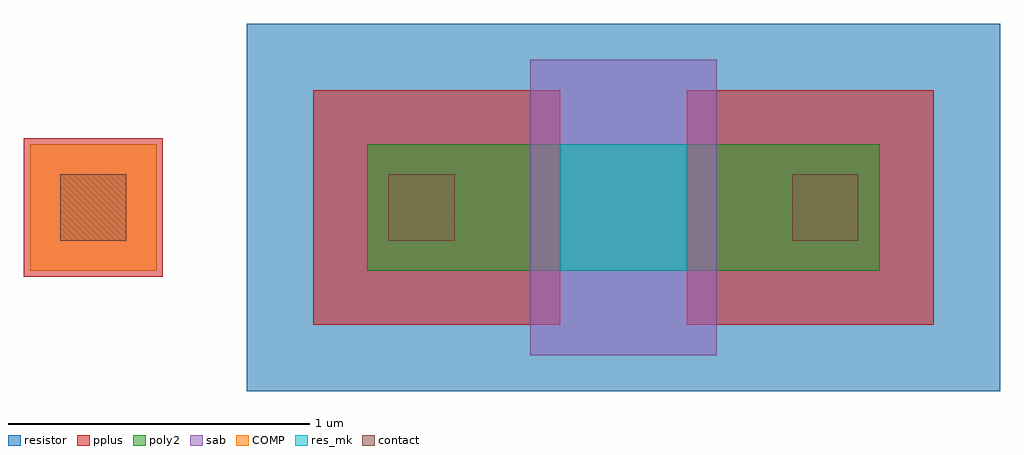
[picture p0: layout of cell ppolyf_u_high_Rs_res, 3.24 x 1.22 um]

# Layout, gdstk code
import gdstk
lib = gdstk.Library(unit=1e-6, precision=1e-09)
def R(c, l, rs):  # rectangles x0, y0, x1, y1
    for r in rs: c.add(gdstk.rectangle(r[:2], r[2:], *l))
COMP = (22, 0)
poly2 = (30, 0)
pplus = (31, 0)
contact = (33, 0)
sab = (49, 0)
resistor = (62, 0)
res_mk = (110, 5)

compass_f40c7e4f = lib.new_cell('compass_f40c7e4f')
R(compass_f40c7e4f, res_mk, [(-0.21,-0.21,0.21,0.21)])

rectangle_f40c7e4f = lib.new_cell('rectangle_f40c7e4f')
rectangle_f40c7e4f.add(gdstk.Reference(compass_f40c7e4f, (0.21,0.21)))

compass_907f2ba3 = lib.new_cell('compass_907f2ba3')
R(compass_907f2ba3, resistor, [(-1.25,-0.61,1.25,0.61)])

rectangle_907f2ba3 = lib.new_cell('rectangle_907f2ba3')
rectangle_907f2ba3.add(gdstk.Reference(compass_907f2ba3, (1.25,0.61)))

compass_6b2bcdbc = lib.new_cell('compass_6b2bcdbc')
R(compass_6b2bcdbc, sab, [(-0.31,-0.49,0.31,0.49)])

rectangle_6b2bcdbc = lib.new_cell('rectangle_6b2bcdbc')
rectangle_6b2bcdbc.add(gdstk.Reference(compass_6b2bcdbc, (0.31,0.49)))

compass_9d4e71ee = lib.new_cell('compass_9d4e71ee')
R(compass_9d4e71ee, poly2, [(-0.85,-0.21,0.85,0.21)])

rectangle_9d4e71ee = lib.new_cell('rectangle_9d4e71ee')
rectangle_9d4e71ee.add(gdstk.Reference(compass_9d4e71ee, (0.85,0.21)))

compass_f38dc993 = lib.new_cell('compass_f38dc993')
R(compass_f38dc993, contact, [(-0.11,-0.11,0.11,0.11)])

rectangle_f38dc993 = lib.new_cell('rectangle_f38dc993')
rectangle_f38dc993.add(gdstk.Reference(compass_f38dc993, (0.11,0.11)))

via_generator_f7a0cab3 = lib.new_cell('via_generator_f7a0cab3')
r = gdstk.Reference(rectangle_f38dc993, (-0.57,0.1)); r.repetition = gdstk.Repetition(1, 1, v1=(0.5,0), v2=(0,0.5)); via_generator_f7a0cab3.add(r)

compass_c6da174f = lib.new_cell('compass_c6da174f')
R(compass_c6da174f, poly2, [(-0.17,-0.17,0.17,0.17)])

rectangle_c6da174f = lib.new_cell('rectangle_c6da174f')
rectangle_c6da174f.add(gdstk.Reference(compass_c6da174f, (0.17,0.17)))

via_stack_59bc63ad = lib.new_cell('via_stack_59bc63ad')
via_stack_59bc63ad.add(gdstk.Reference(via_generator_f7a0cab3, (0,0)))
via_stack_59bc63ad.add(gdstk.Reference(rectangle_c6da174f, (-0.63,0.04)))

compass_edf0457e = lib.new_cell('compass_edf0457e')
R(compass_edf0457e, pplus, [(-0.41,-0.39,0.41,0.39)])

rectangle_edf0457e = lib.new_cell('rectangle_edf0457e')
rectangle_edf0457e.add(gdstk.Reference(compass_edf0457e, (0.41,0.39)))

compass_dc57526c = lib.new_cell('compass_dc57526c')
R(compass_dc57526c, COMP, [(-0.21,-0.21,0.21,0.21)])

rectangle_dc57526c = lib.new_cell('rectangle_dc57526c')
rectangle_dc57526c.add(gdstk.Reference(compass_dc57526c, (0.21,0.21)))

via_generator_928acc0e = lib.new_cell('via_generator_928acc0e')
r = gdstk.Reference(rectangle_f38dc993, (-1.66,0.1)); r.repetition = gdstk.Repetition(1, 1, v1=(0.5,0), v2=(0,0.5)); via_generator_928acc0e.add(r)

compass_9deecdff = lib.new_cell('compass_9deecdff')
R(compass_9deecdff, COMP, [(-0.17,-0.17,0.17,0.17)])

rectangle_9deecdff = lib.new_cell('rectangle_9deecdff')
rectangle_9deecdff.add(gdstk.Reference(compass_9deecdff, (0.17,0.17)))

via_stack_28ead5b9 = lib.new_cell('via_stack_28ead5b9')
via_stack_28ead5b9.add(gdstk.Reference(via_generator_928acc0e, (0,0)))
via_stack_28ead5b9.add(gdstk.Reference(rectangle_9deecdff, (-1.72,0.04)))

compass_0ef71fcd = lib.new_cell('compass_0ef71fcd')
R(compass_0ef71fcd, pplus, [(-0.23,-0.23,0.23,0.23)])

rectangle_0ef71fcd = lib.new_cell('rectangle_0ef71fcd')
rectangle_0ef71fcd.add(gdstk.Reference(compass_0ef71fcd, (0.23,0.23)))

ppolyf_u_high_rs_res = lib.new_cell('ppolyf_u_high_Rs_res')
ppolyf_u_high_rs_res.add(gdstk.Reference(rectangle_f40c7e4f, (0,0)))
ppolyf_u_high_rs_res.add(gdstk.Reference(rectangle_907f2ba3, (-1.04,-0.4)))
ppolyf_u_high_rs_res.add(gdstk.Reference(rectangle_6b2bcdbc, (-0.1,-0.28)))
ppolyf_u_high_rs_res.add(gdstk.Reference(rectangle_9d4e71ee, (-0.64,0)))
r = gdstk.Reference(via_stack_59bc63ad, (0,0)); r.repetition = gdstk.Repetition(2, 1, v1=(1.34,0), v2=(0,1)); ppolyf_u_high_rs_res.add(r)
r = gdstk.Reference(rectangle_edf0457e, (-0.82,-0.18)); r.repetition = gdstk.Repetition(2, 1, v1=(1.24,0), v2=(0,1)); ppolyf_u_high_rs_res.add(r)
ppolyf_u_high_rs_res.add(gdstk.Reference(rectangle_dc57526c, (-1.76,0)))
ppolyf_u_high_rs_res.add(gdstk.Reference(via_stack_28ead5b9, (0,0)))
ppolyf_u_high_rs_res.add(gdstk.Reference(rectangle_0ef71fcd, (-1.78,-0.02)))

lib.write_gds('ppolyf_u_high_Rs_res.gds')
